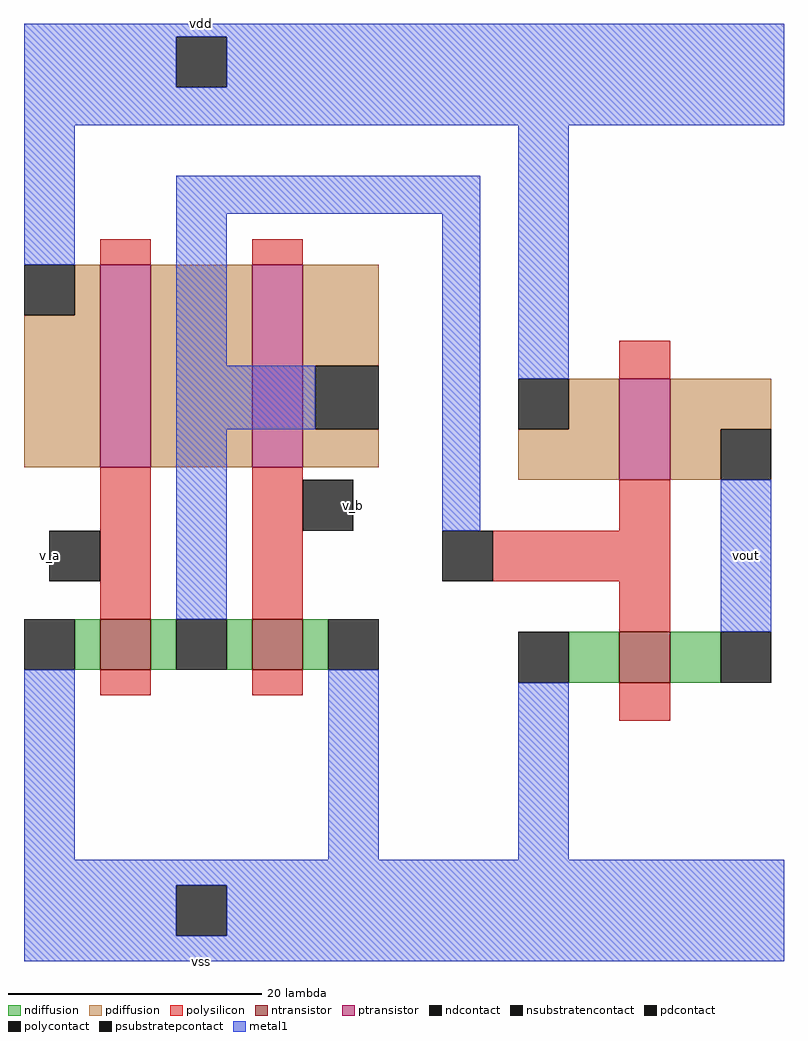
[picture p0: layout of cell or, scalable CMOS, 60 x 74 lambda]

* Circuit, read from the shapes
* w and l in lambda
.subckt or v_a v_b vdd vout vss
M1 n1 v_a vss vss nfet w=4 l=4
M2 vss v_b n1 vss nfet w=4 l=4
M3 vout n1 vss vss nfet w=4 l=4
M4 n2 v_a vdd vdd pfet w=16 l=4
M5 n1 v_b n2 vdd pfet w=16 l=4
M6 vout n1 vdd vdd pfet w=8 l=4
.ends

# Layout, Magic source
magic
tech scmos
<< polysilicon >>
rect -22 55 -18 57
rect -10 55 -6 57
rect 19 46 23 49
rect -22 27 -18 39
rect -10 27 -6 39
rect 19 34 23 38
rect 9 30 23 34
rect 19 26 23 30
rect -22 21 -18 23
rect -10 21 -6 23
rect 19 19 23 22
<< ndiffusion >>
rect -24 23 -22 27
rect -18 23 -16 27
rect -12 23 -10 27
rect -6 23 -4 27
rect 15 22 19 26
rect 23 22 27 26
<< pdiffusion >>
rect -24 51 -22 55
rect -28 39 -22 51
rect -18 39 -10 55
rect -6 47 0 55
rect -6 42 -5 47
rect -6 39 0 42
rect 15 42 19 46
rect 11 38 19 42
rect 23 42 31 46
rect 23 38 27 42
<< metal1 >>
rect -28 73 32 74
rect -28 69 -16 73
rect -12 69 32 73
rect -28 66 32 69
rect -28 55 -24 66
rect -16 59 8 62
rect -16 47 -12 59
rect -16 42 -5 47
rect -16 27 -12 42
rect 5 34 8 59
rect 11 46 15 66
rect 27 26 31 38
rect -28 8 -24 23
rect -4 8 0 23
rect 11 8 15 22
rect -28 6 32 8
rect -28 2 -16 6
rect -12 2 32 6
rect -28 0 32 2
<< ntransistor >>
rect -22 23 -18 27
rect -10 23 -6 27
rect 19 22 23 26
<< ptransistor >>
rect -22 39 -18 55
rect -10 39 -6 55
rect 19 38 23 46
<< polycontact >>
rect -26 30 -22 34
rect -6 34 -2 38
rect 5 30 9 34
<< ndcontact >>
rect -28 23 -24 27
rect -16 23 -12 27
rect -4 23 0 27
rect 11 22 15 26
rect 27 22 31 26
<< pdcontact >>
rect -28 51 -24 55
rect -5 42 0 47
rect 11 42 15 46
rect 27 38 31 42
<< psubstratepcontact >>
rect -16 2 -12 6
<< nsubstratencontact >>
rect -16 69 -12 73
<< labels >>
rlabel metal1 -28 74 0 74 1 vdd
rlabel polycontact -26 30 -26 34 3 v_a
rlabel metal1 -28 0 0 0 5 vss
rlabel polycontact -2 34 -2 38 7 v_b
rlabel metal1 29 32 29 32 3 vout
<< end >>
